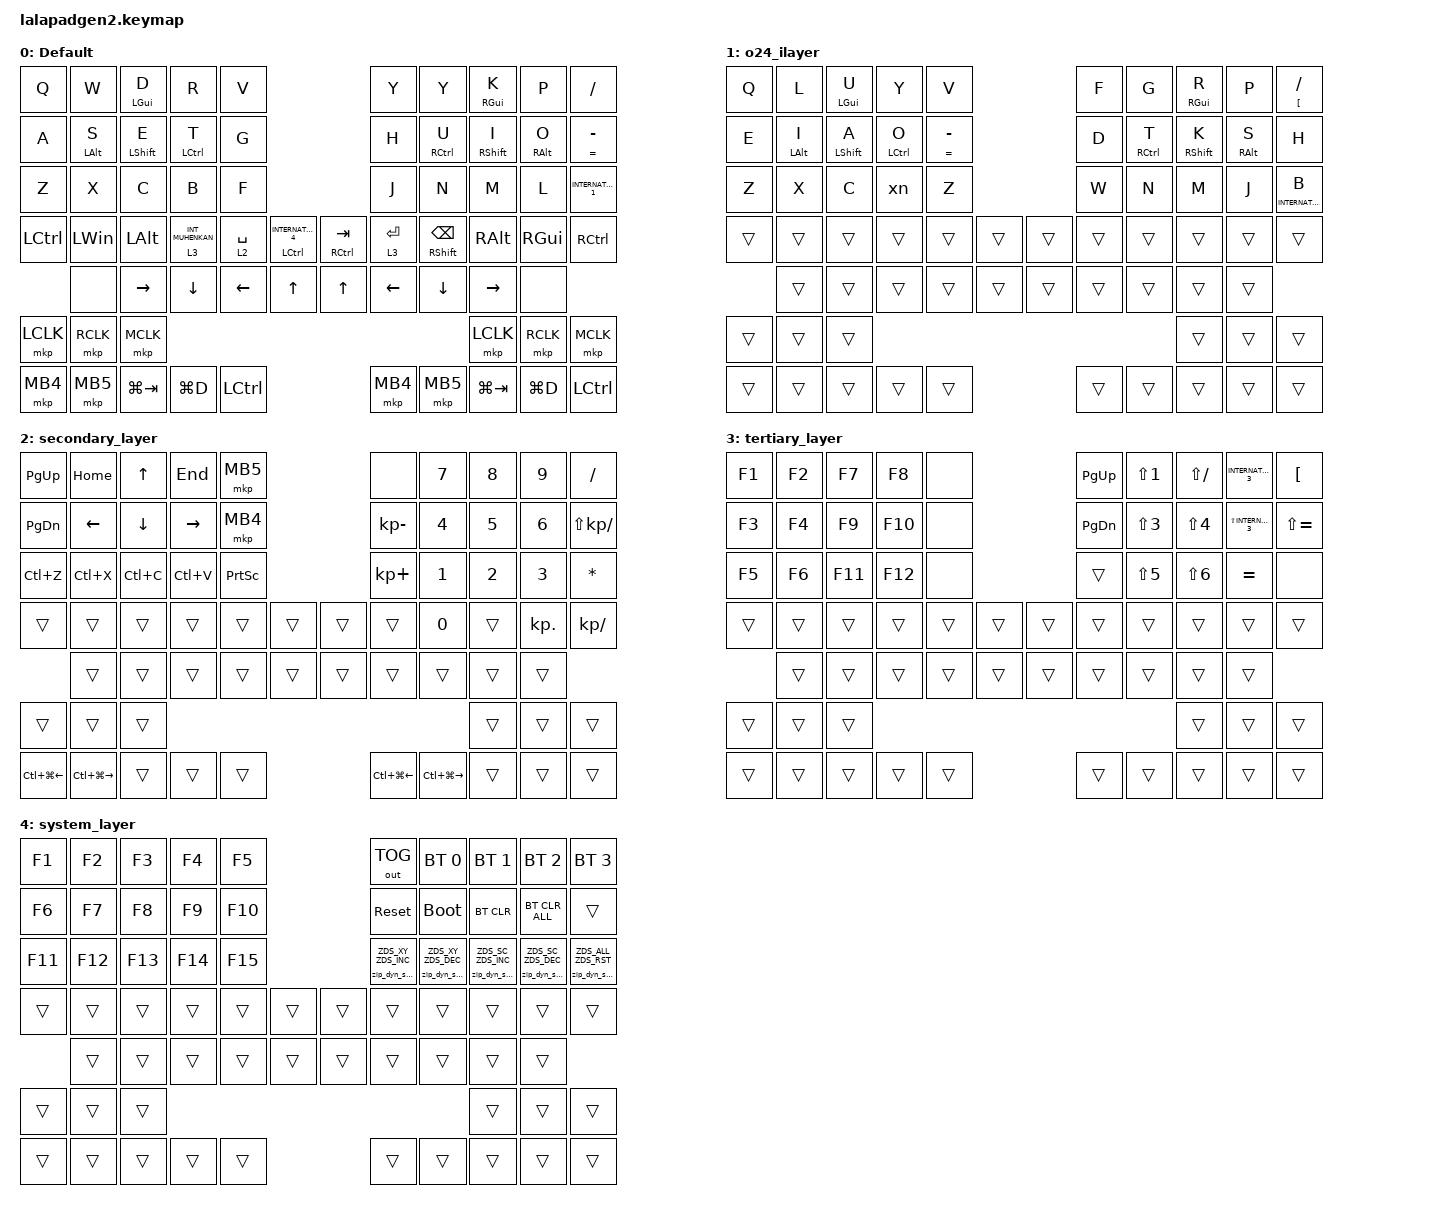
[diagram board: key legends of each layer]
#include <input/processors.dtsi>
#include <dt-bindings/zmk/zip_dynamic_scale.h>
#include <behaviors.dtsi>
#include <dt-bindings/zmk/bt.h>
#include <dt-bindings/zmk/keys.h>
#include <dt-bindings/zmk/outputs.h>
#include <dt-bindings/zmk/pointing.h>

#define DEFAULT_LAYER   0
#define SECONDARY_LAYER 1
#define TERTIARY_LAYER  2
#define SYSTEM_LAYER    3

&mt { quick-tap-ms = <200>; };

&lt { quick-tap-ms = <200>; };

/ {
    behaviors {
        zip_dyn_scale: zip_dyn_scale {
            compatible = "zmk,behavior-zip-dynamic-scale";
            #binding-cells = <2>;
        };

        zip_dyn_scale_set: zip_dyn_scale_set {
            compatible = "zmk,behavior-zip-dynamic-scale-set";
            #binding-cells = <2>;
        };

        mt2: mod_tap2 {
            compatible = "zmk,behavior-hold-tap";
            #binding-cells = <2>;
            flavor = "tap-preferred";
            tapping-term-ms = <200>;
            quick-tap-ms = <200>;
            require-prior-idle-ms = <125>;
            bindings = <&kp>, <&kp>;
        };

        tap_dance_layer_1and2: tap_dance_layer_1and2 {
            compatible = "zmk,behavior-tap-dance";
            label = "td_mo12";
            #binding-cells = <0>;
            bindings = <&mo 2>, <&mo 3>;
        };
    };

    combos {
        compatible = "zmk,combos";

        CONBO_ESC {
            bindings = <&kp ESCAPE>;
            key-positions = <1 2>;
        };

        COMBO_BACKSPACE {
            bindings = <&kp BACKSPACE>;
            key-positions = <11 12>;
        };

        combo_TAB_REVERSE {
            bindings = <&kp LS(TAB)>;
            key-positions = <21 22>;
        };

        combo_return {
            bindings = <&kp RET>;
            key-positions = <2 3>;
        };

        combo_DEL {
            bindings = <&kp DEL>;
            key-positions = <12 13>;
        };

        combo_TAB {
            bindings = <&kp TAB>;
            key-positions = <23 22>;
        };

        combo_ZENHAN {
            bindings = <&kp GRAVE>;
            key-positions = <0 1>;
        };

        COMBO_LKAKKO {
            bindings = <&kp LS(NUMBER_8)>;
            key-positions = <11 13>;
        };

        COMBO_DUBLEQUOT {
            bindings = <&kp LS(NUMBER_2)>;
            key-positions = <8 7>;
        };

        COMBO_DOT {
            bindings = <&kp DOT>;
            key-positions = <17 18>;
        };

        COMBO_QUOT {
            bindings = <&kp LS(N7)>;
            key-positions = <27 28>;
        };

        COMBO_SEMICOLON {
            bindings = <&kp SEMI>;
            key-positions = <6 7>;
        };

        COMBO_COMMA {
            bindings = <&kp COMMA>;
            key-positions = <16 17>;
        };

        COMBO_COLON {
            bindings = <&kp APOS>;
            key-positions = <26 27>;
        };

        COMBO_RKAKKO {
            bindings = <&kp LS(N9)>;
            key-positions = <16 18>;
        };

        COMBO_LKAGI {
            bindings = <&kp RBKT>;
            key-positions = <10 13>;
        };

        COMBO_RKAGI {
            bindings = <&kp BSLH>;
            key-positions = <16 19>;
        };

        o24 {
            bindings = <&to 1>;
            key-positions = <0 9>;
        };

        df {
            bindings = <&to 0>;
            key-positions = <20 29>;
        };
    };

    macros {
        xn: xn {
            compatible = "zmk,behavior-macro";
            #binding-cells = <0>;
            bindings = <&kp X &kp N>;
            label = "XN";
        };
    };

    keymap {
        compatible = "zmk,keymap";

        DEFAULT_LAYER {
            display-name = "Default";
            bindings = <
&kp Q      &kp W            &mt2 LEFT_GUI D    &kp R                &kp V                                                                 &kp Y      &kp Y                      &mt2 RIGHT_GUI K    &kp P             &kp SLASH
&kp A      &mt2 LEFT_ALT S  &mt2 LEFT_SHIFT E  &mt2 LEFT_CONTROL T  &kp G                                                                 &kp H      &mt2 RIGHT_CONTROL U       &mt2 RIGHT_SHIFT I  &mt2 RIGHT_ALT O  &mt2 EQUAL MINUS
&kp Z      &kp X            &kp C              &kp B                &kp F                                                                 &kp J      &kp N                      &kp M               &kp L             &kp INTERNATIONAL_1
&kp LCTRL  &kp LWIN         &kp LEFT_ALT       &lt 3 INT_MUHENKAN   &lt 2 SPACE  &mt LEFT_CONTROL INTERNATIONAL_4  &mt RIGHT_CONTROL TAB  &lt 3 RET  &mt RIGHT_SHIFT BACKSPACE  &kp RIGHT_ALT       &kp RIGHT_GUI     &kp RIGHT_CONTROL
           &none            &kp RIGHT          &kp DOWN             &kp LEFT     &kp UP                            &kp UP                 &kp LEFT   &kp DOWN                   &kp RIGHT           &none
&mkp LCLK  &mkp RCLK        &mkp MCLK                                                                                                                                           &mkp LCLK           &mkp RCLK         &mkp MCLK
&mkp MB4   &mkp MB5         &kp LG(TAB)        &kp LG(D)            &kp LCTRL                                                             &mkp MB4   &mkp MB5                   &kp LG(TAB)         &kp LG(D)         &kp LCTRL
            >;
        };

        o24_ilayer {
            bindings = <
&kp Q   &kp L            &mt2 LEFT_GUI U    &kp Y                &kp V                             &kp F   &kp G                 &mt2 RIGHT_GUI R    &kp P             &mt2 LBKT SLASH
&kp E   &mt2 LEFT_ALT I  &mt2 LEFT_SHIFT A  &mt2 LEFT_CONTROL O  &mt2 EQUAL MINUS                  &kp D   &mt2 RIGHT_CONTROL T  &mt2 RIGHT_SHIFT K  &mt2 RIGHT_ALT S  &kp H
&kp Z   &kp X            &kp C              &xn                  &kp Z                             &kp W   &kp N                 &kp M               &kp J             &mt2 INTERNATIONAL_1 B
&trans  &trans           &trans             &trans               &trans            &trans  &trans  &trans  &trans                &trans              &trans            &trans
        &trans           &trans             &trans               &trans            &trans  &trans  &trans  &trans                &trans              &trans
&trans  &trans           &trans                                                                                                  &trans              &trans            &trans
&trans  &trans           &trans             &trans               &trans                            &trans  &trans                &trans              &trans            &trans
            >;
        };

        SECONDARY_LAYER {
            display-name = "secondary_layer";
            bindings = <
&kp PAGE_UP       &kp HOME           &kp UP_ARROW    &kp END          &mkp MB5                         &none             &kp N7             &kp N8        &kp N9        &kp SLASH
&kp PAGE_DOWN     &kp LEFT_ARROW     &kp DOWN_ARROW  &kp RIGHT_ARROW  &mkp MB4                         &kp KP_MINUS      &kp NUMBER_4       &kp N5        &kp NUMBER_6  &kp LS(KP_SLASH)
&kp LC(Z)         &kp LC(X)          &kp LC(C)       &kp LC(V)        &kp PRINTSCREEN                  &kp KP_PLUS       &kp NUMBER_1       &kp NUMBER_2  &kp NUMBER_3  &kp ASTRK
&trans            &trans             &trans          &trans           &trans           &trans  &trans  &trans            &kp N0             &trans        &kp KP_DOT    &kp KP_DIVIDE
                  &trans             &trans          &trans           &trans           &trans  &trans  &trans            &trans             &trans        &trans
&trans            &trans             &trans                                                                                                 &trans        &trans        &trans
&kp LC(LG(LEFT))  &kp LC(LG(RIGHT))  &trans          &trans           &trans                           &kp LC(LG(LEFT))  &kp LC(LG(RIGHT))  &trans        &trans        &trans
            >;
        };

        TERTIARY_LAYER {
            display-name = "tertiary_layer";
            bindings = <
&kp F1  &kp F2  &kp F7   &kp F8   &none                   &kp PAGE_UP    &kp LS(NUMBER_1)  &kp LS(SLASH)     &kp INTERNATIONAL_3      &kp LBKT
&kp F3  &kp F4  &kp F9   &kp F10  &none                   &kp PAGE_DOWN  &kp LS(NUMBER_3)  &kp LS(NUMBER_4)  &kp LS(INTERNATIONAL_3)  &kp LS(EQUAL)
&kp F5  &kp F6  &kp F11  &kp F12  &none                   &trans         &kp LS(NUMBER_5)  &kp LS(NUMBER_6)  &kp EQUAL                &none
&trans  &trans  &trans   &trans   &trans  &trans  &trans  &trans         &trans            &trans            &trans                   &trans
        &trans  &trans   &trans   &trans  &trans  &trans  &trans         &trans            &trans            &trans
&trans  &trans  &trans                                                                     &trans            &trans                   &trans
&trans  &trans  &trans   &trans   &trans                  &trans         &trans            &trans            &trans                   &trans
            >;
        };

        SYSTEM_LAYER {
            display-name = "system_layer";
            bindings = <
&kp F1   &kp F2   &kp F3   &kp F4   &kp F5                   &out OUT_TOG                   &bt BT_SEL 0                   &bt BT_SEL 1                   &bt BT_SEL 2                   &bt BT_SEL 3
&kp F6   &kp F7   &kp F8   &kp F9   &kp F10                  &sys_reset                     &bootloader                    &bt BT_CLR                     &bt BT_CLR_ALL                 &trans
&kp F11  &kp F12  &kp F13  &kp F14  &kp F15                  &zip_dyn_scale ZDS_XY ZDS_INC  &zip_dyn_scale ZDS_XY ZDS_DEC  &zip_dyn_scale ZDS_SC ZDS_INC  &zip_dyn_scale ZDS_SC ZDS_DEC  &zip_dyn_scale ZDS_ALL ZDS_RST
&trans   &trans   &trans   &trans   &trans   &trans  &trans  &trans                         &trans                         &trans                         &trans                         &trans
         &trans   &trans   &trans   &trans   &trans  &trans  &trans                         &trans                         &trans                         &trans
&trans   &trans   &trans                                                                                                   &trans                         &trans                         &trans
&trans   &trans   &trans   &trans   &trans                   &trans                         &trans                         &trans                         &trans                         &trans
            >;
        };
    };

    conditional_layers {
        compatible = "zmk,conditional-layers";

        Cond_Syslayer {
            if-layers = <2 3>;
            then-layer = <5>;
        };
    };
};
